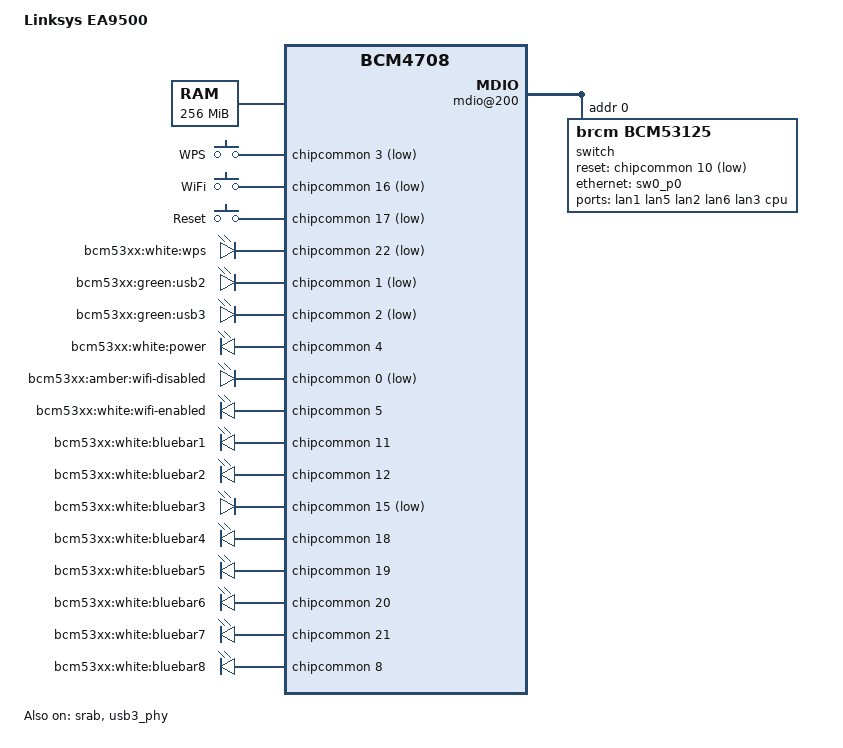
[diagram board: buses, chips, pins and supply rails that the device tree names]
// SPDX-License-Identifier: GPL-2.0-or-later OR MIT
/*
 * Copyright (C) 2017 Rafał Miłecki <rafal@milecki.pl>
 */

/dts-v1/;

#include "bcm47094.dtsi"
#include "bcm5301x-nand-cs0-bch8.dtsi"

/ {
	compatible = "linksys,panamera", "brcm,bcm47094", "brcm,bcm4708";
	model = "Linksys EA9500";

	chosen {
		bootargs = "console=ttyS0,115200";
	};

	memory@0 {
		device_type = "memory";
		reg = <0x00000000 0x08000000>,
		      <0x88000000 0x08000000>;
	};

	nvram@1c080000 {
		compatible = "brcm,nvram";
		reg = <0x1c080000 0x100000>;
	};

	gpio-keys {
		compatible = "gpio-keys";

		button-wps {
			label = "WPS";
			linux,code = <KEY_WPS_BUTTON>;
			gpios = <&chipcommon 3 GPIO_ACTIVE_LOW>;
		};

		button-rfkill {
				label = "WiFi";
				linux,code = <KEY_RFKILL>;
				gpios = <&chipcommon 16 GPIO_ACTIVE_LOW>;
		};

		button-reset {
				label = "Reset";
				linux,code = <KEY_RESTART>;
				gpios = <&chipcommon 17 GPIO_ACTIVE_LOW>;
		};
	};

	leds {
		compatible = "gpio-leds";

		led-wps {
			label = "bcm53xx:white:wps";
			gpios = <&chipcommon 22 GPIO_ACTIVE_LOW>;
		};

		led-usb2 {
			label = "bcm53xx:green:usb2";
			gpios = <&chipcommon 1 GPIO_ACTIVE_LOW>;
			trigger-sources = <&ohci_port2>, <&ehci_port2>;
			linux,default-trigger = "usbport";
		};

		led-usb3 {
			label = "bcm53xx:green:usb3";
			gpios = <&chipcommon 2 GPIO_ACTIVE_LOW>;
			trigger-sources = <&ohci_port1>, <&ehci_port1>,
					  <&xhci_port1>;
			linux,default-trigger = "usbport";
		};

		led-power {
			label = "bcm53xx:white:power";
			gpios = <&chipcommon 4 GPIO_ACTIVE_HIGH>;
			linux,default-trigger = "default-on";
		};

		led-wifi-disabled {
			label = "bcm53xx:amber:wifi-disabled";
			gpios = <&chipcommon 0 GPIO_ACTIVE_LOW>;
		};

		led-wifi-enabled {
			label = "bcm53xx:white:wifi-enabled";
			gpios = <&chipcommon 5 GPIO_ACTIVE_HIGH>;
		};

		led-bluebar1 {
			label = "bcm53xx:white:bluebar1";
			gpios = <&chipcommon 11 GPIO_ACTIVE_HIGH>;
		};

		led-bluebar2 {
			label = "bcm53xx:white:bluebar2";
			gpios = <&chipcommon 12 GPIO_ACTIVE_HIGH>;
		};

		led-bluebar3 {
			label = "bcm53xx:white:bluebar3";
			gpios = <&chipcommon 15 GPIO_ACTIVE_LOW>;
		};

		led-bluebar4 {
			label = "bcm53xx:white:bluebar4";
			gpios = <&chipcommon 18 GPIO_ACTIVE_HIGH>;
		};

		led-bluebar5 {
			label = "bcm53xx:white:bluebar5";
			gpios = <&chipcommon 19 GPIO_ACTIVE_HIGH>;
		};

		led-bluebar6 {
			label = "bcm53xx:white:bluebar6";
			gpios = <&chipcommon 20 GPIO_ACTIVE_HIGH>;
		};

		led-bluebar7 {
			label = "bcm53xx:white:bluebar7";
			gpios = <&chipcommon 21 GPIO_ACTIVE_HIGH>;
		};

		led-bluebar8 {
			label = "bcm53xx:white:bluebar8";
			gpios = <&chipcommon 8 GPIO_ACTIVE_HIGH>;
		};
	};

	mdio-mux@18003000 {

		/* BIT(9) = 1 => external mdio */
		mdio@200 {
			reg = <0x200>;
			#address-cells = <1>;
			#size-cells = <0>;

			switch@0  {
				compatible = "brcm,bcm53125";
				#address-cells = <1>;
				#size-cells = <0>;
				reset-gpios = <&chipcommon 10 GPIO_ACTIVE_LOW>;
				reset-names = "robo_reset";
				reg = <0>;
				dsa,member = <1 0>;
				pinctrl-names = "default";
				pinctrl-0 = <&pinmux_mdio>;

				ports {
					#address-cells = <1>;
					#size-cells = <0>;

					port@0 {
						reg = <0>;
						label = "lan1";
					};

					port@1 {
						reg = <1>;
						label = "lan5";
					};

					port@2 {
						reg = <2>;
						label = "lan2";
					};

					port@3 {
						reg = <3>;
						label = "lan6";
					};

					port@4 {
						reg = <4>;
						label = "lan3";
					};

					sw1_p8: port@8 {
						reg = <8>;
						ethernet = <&sw0_p0>;
						label = "cpu";

						fixed-link {
							speed = <1000>;
							full-duplex;
						};
					};
				};
			};
		};
	};
};

&usb2 {
	vcc-gpio = <&chipcommon 13 GPIO_ACTIVE_HIGH>;
};

&usb3 {
	vcc-gpio = <&chipcommon 14 GPIO_ACTIVE_HIGH>;
};

&srab {
	compatible = "brcm,bcm53012-srab", "brcm,bcm5301x-srab";
	status = "okay";
	dsa,member = <0 0>;

	ports {
		sw0_p0: port@0 {
			label = "extsw";

			fixed-link {
				speed = <1000>;
				full-duplex;
			};
		};

		port@1 {
			label = "lan7";
		};

		port@2 {
			label = "lan4";
		};

		port@3 {
			label = "lan8";
		};

		port@4 {
			label = "wan";
		};

		port@5 {
			label = "cpu";
			status = "disabled";

			fixed-link {
				speed = <1000>;
				full-duplex;
			};
		};

		port@7 {
			label = "cpu";
			status = "disabled";

			fixed-link {
				speed = <1000>;
				full-duplex;
			};
		};

		port@8 {
			label = "cpu";
		};
	};
};

&usb3_phy {
	status = "okay";
};

&nandcs {
	partitions {
		compatible = "linksys,ns-partitions";
		#address-cells = <1>;
		#size-cells = <1>;

		partition@0 {
			label = "boot";
			reg = <0x0000000 0x0080000>;
			read-only;
		};

		partition@80000 {
			label = "nvram";
			reg = <0x080000 0x0100000>;
		};

		partition@180000 {
			label = "devinfo";
			reg = <0x0180000 0x080000>;
		};

		partition@200000 {
			reg = <0x0200000 0x01d00000>;
			compatible = "linksys,ns-firmware", "brcm,trx";
		};

		partition@1f00000 {
			reg = <0x01f00000 0x01d00000>;
			compatible = "linksys,ns-firmware", "brcm,trx";
		};

		partition@5200000 {
			label = "system";
			reg = <0x05200000 0x02e00000>;
		};
	};
};
